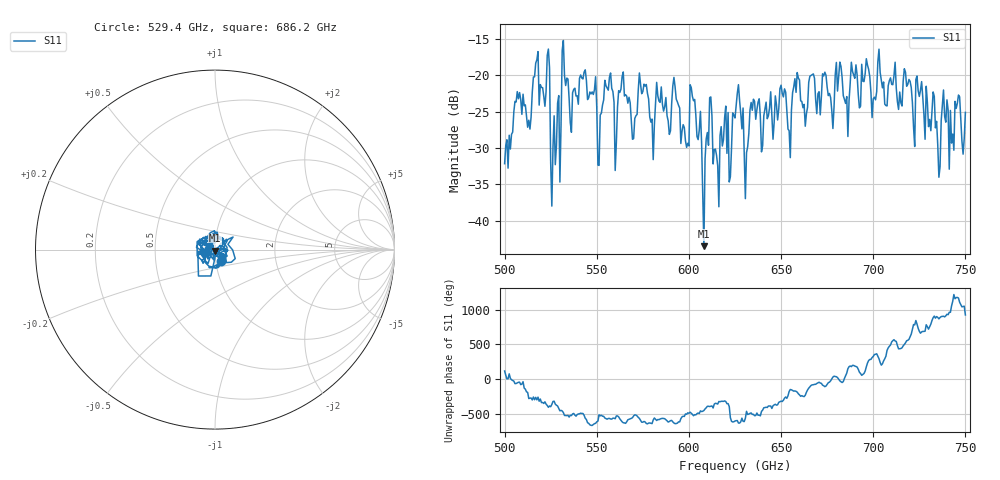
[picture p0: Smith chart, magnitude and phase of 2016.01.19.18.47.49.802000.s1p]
!Created with skrf (http://scikit-rf.org).
# GHz S RI R 50.0
!freq ReS11 ImS11
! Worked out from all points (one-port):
!   401 points, 500 GHz to 750 GHz, reference 50 ohm
!   lowest |S11| = -43.5 dB at 608.1 GHz (marker M1), VSWR 1.01, Z = 50 - j0.668 ohm
!   |S11| at or under -10 dB: start of sweep to end of sweep
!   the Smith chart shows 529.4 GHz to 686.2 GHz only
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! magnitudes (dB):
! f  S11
! 500 GHz  -32.2
! 506.9 GHz  -22.2
! 513.1 GHz  -26.2
! 516.9 GHz  -18.3
! 523.1 GHz  -17.3
! 526.2 GHz  -29.9
! 531.2 GHz  -16.6
! 543.1 GHz  -19.6
! 551.2 GHz  -32.4
! 562.5 GHz  -22.4
! 570 GHz  -28.7
! 574.4 GHz  -22.5
! 580 GHz  -26.0
! 593.8 GHz  -23.7
! 598.8 GHz  -29.9
! 601.9 GHz  -22.9
! 608.1 GHz  -43.5
! 611.2 GHz  -23.1
! 615 GHz  -31.0
! 625 GHz  -25.9
! 631.2 GHz  -30.6
! 634.4 GHz  -24.8
! 656.2 GHz  -22.4
! 687.5 GHz  -21.1
! 718.8 GHz  -21.2
! 735 GHz  -29.6
! 738.8 GHz  -25.7
! 750 GHz  -25.1
